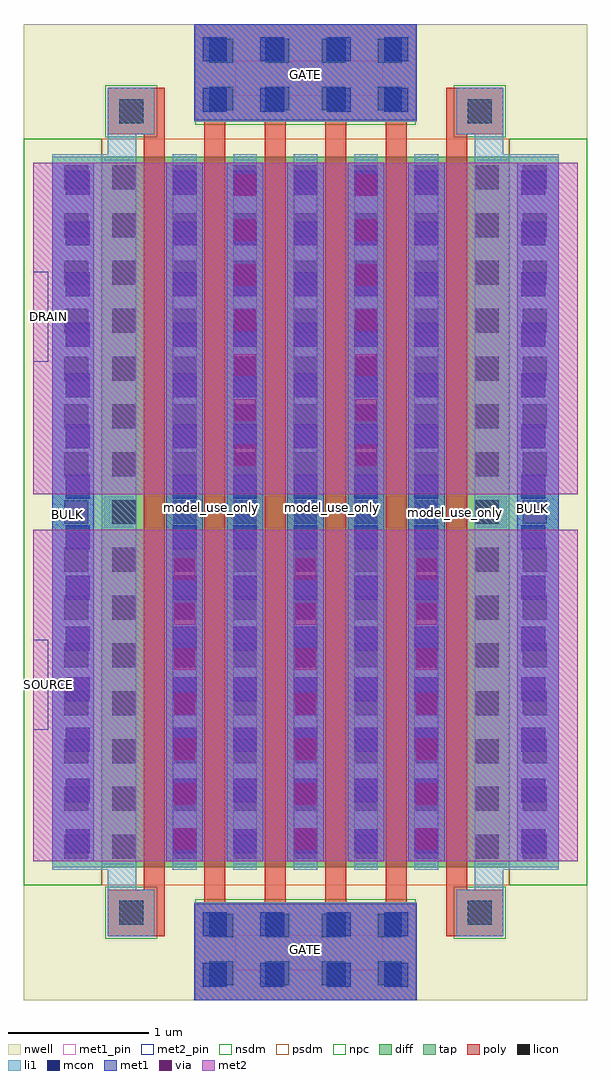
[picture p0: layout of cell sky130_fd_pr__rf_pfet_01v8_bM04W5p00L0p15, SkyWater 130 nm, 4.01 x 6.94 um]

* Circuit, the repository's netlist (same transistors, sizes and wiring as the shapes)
* Copyright 2020 The SkyWater PDK Authors
*
* Licensed under the Apache License, Version 2.0 (the "License");
* you may not use this file except in compliance with the License.
* You may obtain a copy of the License at
*
*     https://www.apache.org/licenses/LICENSE-2.0
*
* Unless required by applicable law or agreed to in writing, software
* distributed under the License is distributed on an "AS IS" BASIS,
* WITHOUT WARRANTIES OR CONDITIONS OF ANY KIND, either express or implied.
* See the License for the specific language governing permissions and
* limitations under the License.
*
* SPDX-License-Identifier: Apache-2.0


.subckt sky130_fd_pr__rf_pfet_01v8_bM04W5p00L0p15 BULK DRAIN GATE SOURCE
X0 SOURCE BULK BULK BULK sky130_fd_pr__pfet_01v8 w=5.05e+06u l=150000u
X1 SOURCE GATE DRAIN BULK sky130_fd_pr__pfet_01v8 w=5.05e+06u l=150000u
X2 SOURCE GATE DRAIN BULK sky130_fd_pr__pfet_01v8 w=5.05e+06u l=150000u
X3 BULK BULK SOURCE BULK sky130_fd_pr__pfet_01v8 w=5.05e+06u l=150000u
X4 DRAIN GATE SOURCE BULK sky130_fd_pr__pfet_01v8 w=5.05e+06u l=150000u
X5 DRAIN GATE SOURCE BULK sky130_fd_pr__pfet_01v8 w=5.05e+06u l=150000u
.ends

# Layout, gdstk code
import gdstk
lib = gdstk.Library(unit=1e-6, precision=1e-09)
def R(c, l, rs):  # rectangles x0, y0, x1, y1
    for r in rs: c.add(gdstk.rectangle(r[:2], r[2:], *l))
def A(c, l, x, y, w, h, nx, ny, dx, dy):  # array of equal rectangles
    R(c, l, [(x+i*dx, y+j*dy, x+i*dx+w, y+j*dy+h) for i in range(nx) for j in range(ny)])
nwell = (64, 20)
diff = (65, 20)
tap = (65, 44)
poly = (66, 20)
licon = (66, 44)
li1 = (67, 20)
mcon = (67, 44)
met1_pin = (68, 16)
met1 = (68, 20)
via = (68, 44)
met2_pin = (69, 16)
met2 = (69, 20)
nsdm = (93, 44)
psdm = (94, 20)
npc = (95, 20)

sky130_fd_pr__rf_pfet_01 = lib.new_cell('sky130_fd_pr__rf_pfet_01v8_bM04W5p00L0p15')
R(sky130_fd_pr__rf_pfet_01, nwell, [(0,0,4.01,6.94)])
R(sky130_fd_pr__rf_pfet_01, diff, [(0.555,0.945,3.455,5.995)])
R(sky130_fd_pr__rf_pfet_01, tap, [(0.205,0.945,0.555,5.995), (3.455,0.945,3.805,5.995)])
A(sky130_fd_pr__rf_pfet_01, poly, 1.285, 0.695, 0.15, 5.55, 4, 1, 0.43, 0)
R(sky130_fd_pr__rf_pfet_01, poly, [(1.215,0,2.795,0.695), (0.6,0.455,0.93,0.785), (0.855,0.455,1.005,6.485), (3.005,0.455,3.155,6.485), (3.08,0.455,3.41,0.785), (0.6,6.155,0.93,6.485), (3.08,6.155,3.41,6.485), (1.215,6.245,2.795,6.94)])
A(sky130_fd_pr__rf_pfet_01, licon, 1.32, 0.105, 0.17, 0.17, 4, 2, 0.4, 0.34)
A(sky130_fd_pr__rf_pfet_01, licon, 0.29, 1.005, 0.17, 0.17, 1, 15, 0, 0.34)
A(sky130_fd_pr__rf_pfet_01, licon, 0.63, 1.005, 0.17, 0.17, 7, 15, 0.43, 0.34)
A(sky130_fd_pr__rf_pfet_01, licon, 3.55, 1.005, 0.17, 0.17, 1, 15, 0, 0.34)
A(sky130_fd_pr__rf_pfet_01, licon, 1.32, 6.325, 0.17, 0.17, 4, 2, 0.4, 0.34)
R(sky130_fd_pr__rf_pfet_01, licon, [(0.68,0.535,0.85,0.705), (3.16,0.535,3.33,0.705), (0.68,6.235,0.85,6.405), (3.16,6.235,3.33,6.405)])
A(sky130_fd_pr__rf_pfet_01, li1, 1.06, 0.925, 0.17, 5.09, 5, 1, 0.43, 0)
A(sky130_fd_pr__rf_pfet_01, li1, 1.06, 2.125, 0.17, 2.69, 5, 1, 0.43, 0)
R(sky130_fd_pr__rf_pfet_01, li1, [(1.215,0,2.795,0.695), (0.6,0.455,0.93,0.785), (3.08,0.455,3.41,0.785), (0.6,0.785,0.8,0.925), (3.21,0.785,3.41,0.925), (0.205,0.925,0.8,6.015), (3.21,0.925,3.805,6.015), (0.32,1.045,0.49,5.895), (3.52,1.045,3.69,5.895), (0.6,6.015,0.8,6.155), (3.21,6.015,3.41,6.155), (0.6,6.155,0.93,6.485), (3.08,6.155,3.41,6.485), (1.215,6.245,2.795,6.94)])
A(sky130_fd_pr__rf_pfet_01, mcon, 0.3, 1.045, 0.17, 0.17, 1, 14, 0, 0.36)
A(sky130_fd_pr__rf_pfet_01, mcon, 1.06, 1.045, 0.17, 0.17, 5, 14, 0.43, 0.36)
A(sky130_fd_pr__rf_pfet_01, mcon, 3.54, 1.045, 0.17, 0.17, 1, 14, 0, 0.36)
R(sky130_fd_pr__rf_pfet_01, mcon, [(1.275,0.095,1.445,0.265), (1.685,0.095,1.855,0.265), (2.155,0.095,2.325,0.265), (2.565,0.095,2.735,0.265), (1.275,0.455,1.445,0.625), (1.685,0.455,1.855,0.625), (2.155,0.455,2.325,0.625), (2.565,0.455,2.735,0.625), (1.275,6.315,1.445,6.485), (1.685,6.315,1.855,6.485), (2.155,6.315,2.325,6.485), (2.565,6.315,2.735,6.485), (1.275,6.675,1.445,6.845), (1.685,6.675,1.855,6.845), (2.155,6.675,2.325,6.845), (2.565,6.675,2.735,6.845)])
R(sky130_fd_pr__rf_pfet_01, met1_pin, [(1.505,0.21,2.555,0.46), (0.205,3.375,0.5,3.525), (3.51,3.415,3.805,3.565), (1.505,6.43,2.555,6.68)])
A(sky130_fd_pr__rf_pfet_01, met1, 1.015, 0.985, 0.26, 2.24, 3, 1, 0.86, 0)
A(sky130_fd_pr__rf_pfet_01, met1, 1.015, 0.985, 0.26, 4.97, 5, 1, 0.43, 0)
R(sky130_fd_pr__rf_pfet_01, met1, [(1.215,0,2.795,0.685), (0.205,0.985,0.5,5.955), (3.51,0.985,3.805,5.955), (1.445,3.715,1.705,5.955), (2.305,3.715,2.565,5.955), (1.215,6.255,2.795,6.94)])
A(sky130_fd_pr__rf_pfet_01, via, 1.07, 1.07, 0.15, 0.15, 3, 7, 0.86, 0.32)
A(sky130_fd_pr__rf_pfet_01, via, 1.5, 3.8, 0.15, 0.15, 1, 7, 0, 0.32)
A(sky130_fd_pr__rf_pfet_01, via, 2.36, 3.8, 0.15, 0.15, 1, 7, 0, 0.32)
R(sky130_fd_pr__rf_pfet_01, met2_pin, [(0.07,1.92,0.175,2.56), (0.07,4.54,0.175,5.18)])
A(sky130_fd_pr__rf_pfet_01, met2, 1.015, 0.985, 0.26, 2.24, 3, 1, 0.86, 0)
R(sky130_fd_pr__rf_pfet_01, met2, [(0.07,0.985,3.94,3.345), (0.07,3.595,3.94,5.955), (1.445,3.715,1.705,5.955), (2.305,3.715,2.565,5.955)])
R(sky130_fd_pr__rf_pfet_01, nsdm, [(0,0.815,0.555,6.125), (3.455,0.815,4.01,6.125)])
R(sky130_fd_pr__rf_pfet_01, psdm, [(0.555,0.815,3.455,6.125)])
R(sky130_fd_pr__rf_pfet_01, npc, [(1.22,0,2.79,0.715), (0.58,0.435,0.95,0.805), (3.06,0.435,3.43,0.805), (0.58,6.135,0.95,6.505), (3.06,6.135,3.43,6.505), (1.22,6.225,2.79,6.94)])
sky130_fd_pr__rf_pfet_01.add(gdstk.Label('GATE', (2.005,0.36), layer=68, texttype=5))
sky130_fd_pr__rf_pfet_01.add(gdstk.Label('GATE', (2.005,6.58), layer=68, texttype=5))
sky130_fd_pr__rf_pfet_01.add(gdstk.Label('model_use_only', (1.335,3.505), layer=66, texttype=83))
sky130_fd_pr__rf_pfet_01.add(gdstk.Label('model_use_only', (1.765,3.505), layer=66, texttype=83))
sky130_fd_pr__rf_pfet_01.add(gdstk.Label('model_use_only', (2.195,3.505), layer=66, texttype=83))
sky130_fd_pr__rf_pfet_01.add(gdstk.Label('model_use_only', (2.625,3.505), layer=66, texttype=83))
sky130_fd_pr__rf_pfet_01.add(gdstk.Label('model_use_only', (3.07,3.47), layer=66, texttype=83))
sky130_fd_pr__rf_pfet_01.add(gdstk.Label('model_use_only', (0.915,3.47), layer=66, texttype=83))
sky130_fd_pr__rf_pfet_01.add(gdstk.Label('BULK', (0.315,3.455), layer=68, texttype=16))
sky130_fd_pr__rf_pfet_01.add(gdstk.Label('BULK', (3.62,3.495), layer=68, texttype=16))
sky130_fd_pr__rf_pfet_01.add(gdstk.Label('dummy_poly', (3.06,3.53), layer=83, texttype=44))
sky130_fd_pr__rf_pfet_01.add(gdstk.Label('dummy_poly', (0.91,3.52), layer=83, texttype=44))
sky130_fd_pr__rf_pfet_01.add(gdstk.Label('D', (1.575,3.47), layer=83, texttype=44))
sky130_fd_pr__rf_pfet_01.add(gdstk.Label('S', (1.145,3.47), layer=83, texttype=44))
sky130_fd_pr__rf_pfet_01.add(gdstk.Label('S', (2.435,3.47), layer=83, texttype=44))
sky130_fd_pr__rf_pfet_01.add(gdstk.Label('S', (2.005,3.47), layer=83, texttype=44))
sky130_fd_pr__rf_pfet_01.add(gdstk.Label('S', (1.575,3.47), layer=83, texttype=44))
sky130_fd_pr__rf_pfet_01.add(gdstk.Label('S', (1.145,3.47), layer=83, texttype=44))
sky130_fd_pr__rf_pfet_01.add(gdstk.Label('S', (2.865,3.47), layer=83, texttype=44))
sky130_fd_pr__rf_pfet_01.add(gdstk.Label('D', (2.435,3.47), layer=83, texttype=44))
sky130_fd_pr__rf_pfet_01.add(gdstk.Label('S', (2.005,3.47), layer=83, texttype=44))
sky130_fd_pr__rf_pfet_01.add(gdstk.Label('SOURCE', (0.175,2.24), layer=69, texttype=5))
sky130_fd_pr__rf_pfet_01.add(gdstk.Label('DRAIN', (0.175,4.86), layer=69, texttype=5))

lib.write_gds('sky130_fd_pr__rf_pfet_01v8_bM04W5p00L0p15.gds')
